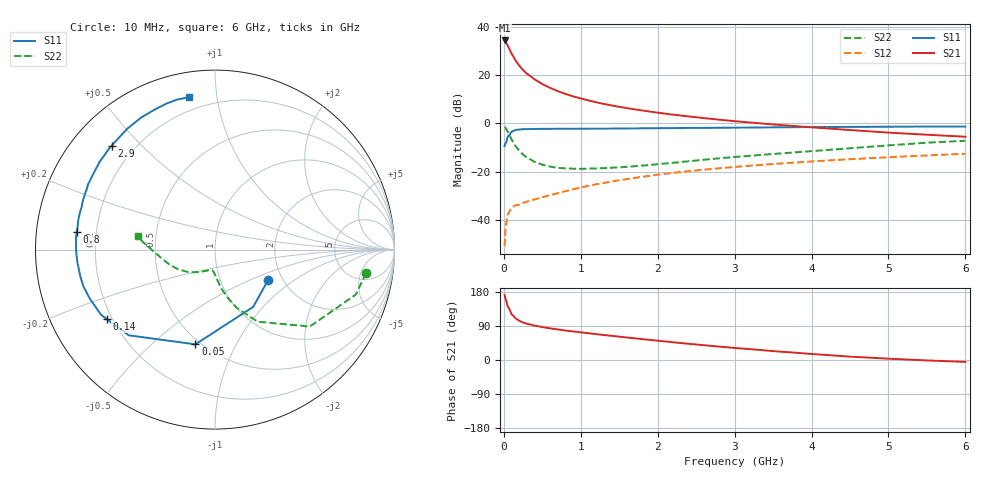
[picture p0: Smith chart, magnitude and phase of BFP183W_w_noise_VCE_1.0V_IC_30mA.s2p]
! Infineon Technologies  Discrete & RF Semiconductors
! BFP183W
! VCE =  1.0 V,  IC =  30 mA
! Common Emitter S-Parameters:  Jan 2017
# GHz  S  MA  R  50
!  f  S11  S21  S12  S22
! GHz  MAG  ANG  MAG  ANG  MAG  ANG  MAG  ANG
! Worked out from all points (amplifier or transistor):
!   77 points, 10 MHz to 6 GHz, reference 50 ohm
!   highest |S21| = 34.3 dB at 10 MHz (marker M1)
!   |S21| within 3 dB of that: start of sweep to 64.41 MHz
!   unconditionally stable (mu >= 1): 473.2 MHz to end of sweep
!   at 130 MHz: K = 0.43, MSG = 30.8 dB, |S12| = -34.3 dB
!   at 2.2 GHz: K = 1.27, MAG = 8.9 dB, |S12| = -20.4 dB
!   at 6 GHz: K = 1.08, MAG = 1.8 dB, |S12| = -12.5 dB
!   lowest NFmin = 1.39 dB at 450 MHz
!   S11 on the Smith chart (normalised r, x): 10 MHz: 1.69, -0.65; 50 MHz: 0.47, -0.70; 140 MHz: 0.18, -0.28; 800 MHz: 0.13, +0.06; 2.9 GHz: 0.12, +0.41; 6 GHz: 0.13, +0.84
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0.01  0.341 -29.7  52.05 171.7  0.0029 78.4  0.8517 -8.8
0.02  0.3836 -56.3  50.09 162.5  0.0059 75.7  0.8237 -17.7
0.05  0.5389 -101.7  41.05 141.4  0.013 57.3  0.6801 -39.1
0.1  0.6777 -135.2  27.91 120.7  0.0178 44.2  0.4666 -59.4
0.14  0.7171 -147.4  21.72 112.9  0.0198 39.5  0.367 -67.2
0.15  0.7316 -150.2  20.26 110.2  0.0203 38.5  0.3435 -69.8
0.2  0.7496 -158.8  15.69 103.5  0.0209 37.7  0.2735 -75.7
0.25  0.7614 -164.5  12.75 98.9  0.0228 38.8  0.2276 -79.8
0.3  0.7648 -168.6  10.71 95.7  0.0242 40.1  0.197 -82.8
0.4  0.7699 -174.5  8.128 90.5  0.0269 44.7  0.1601 -86.8
0.5  0.773 -178.6  6.516 86.8  0.0298 47.3  0.1407 -89.8
0.6  0.7749 178.2  5.451 83.5  0.0329 50.2  0.1285 -92.8
0.7  0.7767 175.5  4.673 80.7  0.0361 54.0  0.1206 -94.4
0.8  0.777 172.8  4.097 77.8  0.0398 55.9  0.1179 -96.3
1.1  0.7802 166.3  2.992 70.6  0.0513 59.0  0.1167 -101.7
1.5  0.786 158.5  2.205 61.6  0.0669 60.7  0.1238 -109.9
2.1  0.7992 147.6  1.595 48.9  0.0911 59.4  0.1487 -123.5
2.9  0.8166 134.8  1.155 33.6  0.1222 55.4  0.1964 -140.9
3.1  0.8202 131.7  1.081 30.2  0.1299 54.2  0.2084 -145.0
4.1  0.8437 118.0  0.81 14.5  0.1674 47.6  0.275 -164.3
5.1  0.8578 107.5  0.634 2.6  0.2035 40.4  0.3612 178.9
6  0.8614 99.6  0.531 -5.1  0.2361 33.6  0.4383 170.0
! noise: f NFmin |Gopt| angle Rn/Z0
0.45  1.39  0.27  180  0.1
0.9  1.43  0.3  -178  0.09
1.9  1.92  0.45  -156  0.1
2.4  2.17  0.5  -152  0.15
